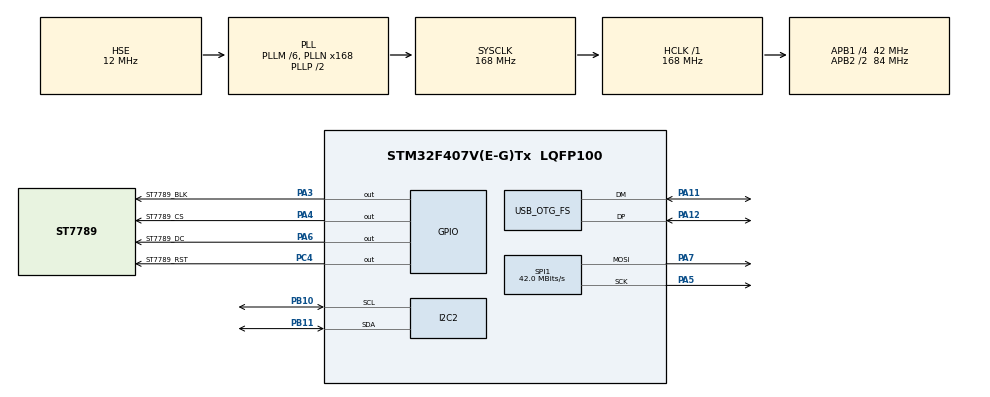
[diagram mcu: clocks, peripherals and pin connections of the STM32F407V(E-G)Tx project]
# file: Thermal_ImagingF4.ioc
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Dma.I2C2_RX.2.Direction=DMA_PERIPH_TO_MEMORY
Dma.I2C2_RX.2.FIFOMode=DMA_FIFOMODE_DISABLE
Dma.I2C2_RX.2.Instance=DMA1_Stream2
Dma.I2C2_RX.2.MemDataAlignment=DMA_MDATAALIGN_BYTE
Dma.I2C2_RX.2.MemInc=DMA_MINC_ENABLE
Dma.I2C2_RX.2.Mode=DMA_NORMAL
Dma.I2C2_RX.2.PeriphDataAlignment=DMA_PDATAALIGN_BYTE
Dma.I2C2_RX.2.PeriphInc=DMA_PINC_DISABLE
Dma.I2C2_RX.2.Priority=DMA_PRIORITY_VERY_HIGH
Dma.I2C2_TX.1.Direction=DMA_MEMORY_TO_PERIPH
Dma.I2C2_TX.1.FIFOMode=DMA_FIFOMODE_DISABLE
Dma.I2C2_TX.1.Instance=DMA1_Stream7
Dma.I2C2_TX.1.MemDataAlignment=DMA_MDATAALIGN_BYTE
Dma.I2C2_TX.1.MemInc=DMA_MINC_ENABLE
Dma.I2C2_TX.1.Mode=DMA_NORMAL
Dma.I2C2_TX.1.PeriphDataAlignment=DMA_PDATAALIGN_BYTE
Dma.I2C2_TX.1.PeriphInc=DMA_PINC_DISABLE
Dma.I2C2_TX.1.Priority=DMA_PRIORITY_HIGH
Dma.Request0=SPI1_TX
Dma.Request1=I2C2_TX
Dma.Request2=I2C2_RX
Dma.SPI1_TX.0.Direction=DMA_MEMORY_TO_PERIPH
Dma.SPI1_TX.0.FIFOMode=DMA_FIFOMODE_ENABLE
Dma.SPI1_TX.0.FIFOThreshold=DMA_FIFO_THRESHOLD_FULL
Dma.SPI1_TX.0.Instance=DMA2_Stream3
Dma.SPI1_TX.0.MemBurst=DMA_MBURST_SINGLE
Dma.SPI1_TX.0.MemDataAlignment=DMA_MDATAALIGN_BYTE
Dma.SPI1_TX.0.MemInc=DMA_MINC_ENABLE
Dma.SPI1_TX.0.Mode=DMA_NORMAL
Dma.SPI1_TX.0.PeriphBurst=DMA_PBURST_SINGLE
Dma.SPI1_TX.0.PeriphDataAlignment=DMA_PDATAALIGN_BYTE
Dma.SPI1_TX.0.PeriphInc=DMA_PINC_DISABLE
Dma.SPI1_TX.0.Priority=DMA_PRIORITY_VERY_HIGH
FREERTOS.Tasks01=defaultTask,0,128,StartDefaultTask,Default,NULL,Dynamic,NULL,NULL;Lvgl_Tsak,0,1024,StartLvglTask,Default,NULL,Dynamic,NULL,NULL;ReadMLX_Task,-3,2048,StartReadMLX_Task,Default,NULL,Dynamic,NULL,NULL
FREERTOS.configENABLE_FPU=0
I2C2.I2C_Mode=I2C_Fast
Mcu.Family=STM32F4
Mcu.Name=STM32F407V(E-G)Tx
Mcu.Package=LQFP100
NVIC.DMA1_Stream2_IRQn=true\:5\:0\:false\:false\:true\:true\:false\:true\:true
NVIC.DMA1_Stream7_IRQn=true\:5\:0\:false\:false\:true\:true\:false\:true\:true
NVIC.DMA2_Stream3_IRQn=true\:5\:0\:false\:false\:true\:true\:false\:true\:true
NVIC.OTG_FS_IRQn=true\:5\:0\:false\:false\:true\:true\:false\:true\:true
NVIC.PriorityGroup=NVIC_PRIORITYGROUP_4
NVIC.TIM1_UP_TIM10_IRQn=true\:15\:0\:false\:false\:true\:false\:false\:true\:true
NVIC.TIM8_BRK_TIM12_IRQn=true\:5\:0\:false\:false\:true\:true\:true\:true\:true
NVIC.TimeBase=TIM1_UP_TIM10_IRQn
NVIC.TimeBaseIP=TIM10
PA11.Mode=Device_Only
PA11.Signal=USB_OTG_FS_DM
PA12.Mode=Device_Only
PA12.Signal=USB_OTG_FS_DP
PA13.Mode=Serial_Wire
PA13.Signal=SYS_JTMS-SWDIO
PA14.Mode=Serial_Wire
PA14.Signal=SYS_JTCK-SWCLK
PA3.GPIO_Label=ST7789_BLK
PA3.GPIO_PuPd=GPIO_PULLDOWN
PA3.PinState=GPIO_PIN_SET
PA3.Signal=GPIO_Output
PA4.GPIO_Label=ST7789_CS
PA4.GPIO_PuPd=GPIO_PULLDOWN
PA4.GPIO_Speed=GPIO_SPEED_FREQ_VERY_HIGH
PA4.Signal=GPIO_Output
PA5.Mode=TX_Only_Simplex_Unidirect_Master
PA5.Signal=SPI1_SCK
PA6.GPIO_Label=ST7789_DC
PA6.GPIO_PuPd=GPIO_PULLUP
PA6.GPIO_Speed=GPIO_SPEED_FREQ_VERY_HIGH
PA6.PinState=GPIO_PIN_RESET
PA6.Signal=GPIO_Output
PA7.Mode=TX_Only_Simplex_Unidirect_Master
PA7.Signal=SPI1_MOSI
PB10.Mode=I2C
PB10.Signal=I2C2_SCL
PB11.Mode=I2C
PB11.Signal=I2C2_SDA
PC4.GPIO_Label=ST7789_RST
PC4.GPIO_PuPd=GPIO_PULLDOWN
PC4.GPIO_Speed=GPIO_SPEED_FREQ_LOW
PC4.Signal=GPIO_Output
PH0-OSC_IN.Mode=HSE-External-Oscillator
PH0-OSC_IN.Signal=RCC_OSC_IN
PH1-OSC_OUT.Mode=HSE-External-Oscillator
PH1-OSC_OUT.Signal=RCC_OSC_OUT
ProjectManager.HeapSize=0x1000
ProjectManager.StackSize=0x2000
ProjectManager.TargetToolchain=MDK-ARM V5.32
RCC.48MHZClocksFreq_Value=48000000
RCC.AHBFreq_Value=168000000
RCC.APB1CLKDivider=RCC_HCLK_DIV4
RCC.APB1Freq_Value=42000000
RCC.APB1TimFreq_Value=84000000
RCC.APB2CLKDivider=RCC_HCLK_DIV2
RCC.APB2Freq_Value=84000000
RCC.APB2TimFreq_Value=168000000
RCC.CortexFreq_Value=168000000
RCC.HCLKFreq_Value=168000000
RCC.HSE_VALUE=12000000
RCC.HSI_VALUE=16000000
RCC.LSE_VALUE=32768
RCC.PLLM=6
RCC.PLLN=168
RCC.PLLQ=7
RCC.SYSCLKFreq_VALUE=168000000
RCC.SYSCLKSource=RCC_SYSCLKSOURCE_PLLCLK
RCC.VCOOutputFreq_Value=336000000
SPI1.CLKPolarity=SPI_POLARITY_HIGH
SPI1.CalculateBaudRate=42.0 MBits/s
SPI1.Direction=SPI_DIRECTION_2LINES
SPI1.Mode=SPI_MODE_MASTER
SPI1.VirtualType=VM_MASTER
TIM12.Period=1000
TIM12.Prescaler=168
USB_DEVICE.CLASS_NAME_FS=CDC
USB_DEVICE.VirtualMode-CDC_FS=Cdc
USB_DEVICE.VirtualModeFS=Cdc_FS
USB_OTG_FS.VirtualMode=Device_Only
VP_FREERTOS_VS_CMSIS_V1.Mode=CMSIS_V1
VP_SYS_VS_tim10.Mode=TIM10
VP_TIM12_VS_ClockSourceINT.Mode=Internal
VP_USB_DEVICE_VS_USB_DEVICE_CDC_FS.Mode=CDC_FS
board=custom

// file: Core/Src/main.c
/* USER CODE BEGIN Header */
/**
  ******************************************************************************
  * @file           : main.c
  * @brief          : Main program body
  ******************************************************************************
  * @attention
  *
  * Copyright (c) 2024 STMicroelectronics.
  * All rights reserved.
  *
  * This software is licensed under terms that can be found in the LICENSE file
  * in the root directory of this software component.
  * If no LICENSE file comes with this software, it is provided AS-IS.
  *
  ******************************************************************************
  */
/* USER CODE END Header */
#include "main.h"
#include "cmsis_os.h"
#include "dma.h"
#include "i2c.h"
#include "spi.h"
#include "tim.h"
#include "usb_device.h"
#include "gpio.h"

/* USER CODE BEGIN Includes */
#include "ST7789.h"
#include "lvgl.h"
#include "lv_port_disp_template.h"
#include "lv_demo_benchmark.h"

#include "MLX90640_API.h"
#include "MLX90640_I2C_Driver.h"

/* USER CODE END Includes */

void SystemClock_Config(void);
void MX_FREERTOS_Init(void);

int main(void)
{

  /* MCU Configuration--------------------------------------------------------*/

  /* Reset of all peripherals, Initializes the Flash interface and the Systick. */
  HAL_Init();

  /* Configure the system clock */
  SystemClock_Config();

  /* Initialize all configured peripherals */
  MX_GPIO_Init();
  MX_DMA_Init();
  MX_SPI1_Init();
  MX_TIM12_Init();
  MX_I2C2_Init();
  /* USER CODE BEGIN 2 */
  HAL_Delay(1000);
  ST7789_Init();
  // ST7789_Test();

  // ST7789_WriteString(50,60,"Welcome",Font_11x18,WHITE,BLACK);

  /* USER CODE END 2 */

  /* Call init function for freertos objects (in cmsis_os2.c) */
  MX_FREERTOS_Init();

  /* Start scheduler */
  osKernelStart();

  /* We should never get here as control is now taken by the scheduler */

  /* Infinite loop */
  while (1)
  {

  }
}

void SystemClock_Config(void)
{
  RCC_OscInitTypeDef RCC_OscInitStruct = {0};
  RCC_ClkInitTypeDef RCC_ClkInitStruct = {0};

  /** Configure the main internal regulator output voltage
  */
  __HAL_RCC_PWR_CLK_ENABLE();
  __HAL_PWR_VOLTAGESCALING_CONFIG(PWR_REGULATOR_VOLTAGE_SCALE1);

  /** Initializes the RCC Oscillators according to the specified parameters
  * in the RCC_OscInitTypeDef structure.
  */
  RCC_OscInitStruct.OscillatorType = RCC_OSCILLATORTYPE_HSE;
  RCC_OscInitStruct.HSEState = RCC_HSE_ON;
  RCC_OscInitStruct.PLL.PLLState = RCC_PLL_ON;
  RCC_OscInitStruct.PLL.PLLSource = RCC_PLLSOURCE_HSE;
  RCC_OscInitStruct.PLL.PLLM = 6;
  RCC_OscInitStruct.PLL.PLLN = 168;
  RCC_OscInitStruct.PLL.PLLP = RCC_PLLP_DIV2;
  RCC_OscInitStruct.PLL.PLLQ = 7;
  if (HAL_RCC_OscConfig(&RCC_OscInitStruct) != HAL_OK)
  {
    Error_Handler();
  }

  /** Initializes the CPU, AHB and APB buses clocks
  */
  RCC_ClkInitStruct.ClockType = RCC_CLOCKTYPE_HCLK|RCC_CLOCKTYPE_SYSCLK
                              |RCC_CLOCKTYPE_PCLK1|RCC_CLOCKTYPE_PCLK2;
  RCC_ClkInitStruct.SYSCLKSource = RCC_SYSCLKSOURCE_PLLCLK;
  RCC_ClkInitStruct.AHBCLKDivider = RCC_SYSCLK_DIV1;
  RCC_ClkInitStruct.APB1CLKDivider = RCC_HCLK_DIV4;
  RCC_ClkInitStruct.APB2CLKDivider = RCC_HCLK_DIV2;

  if (HAL_RCC_ClockConfig(&RCC_ClkInitStruct, FLASH_LATENCY_5) != HAL_OK)
  {
    Error_Handler();
  }
}

void HAL_TIM_PeriodElapsedCallback(TIM_HandleTypeDef *htim)
{
  if (htim->Instance == TIM10) {
    HAL_IncTick();
  }
  /* USER CODE BEGIN Callback 1 */
  if (htim->Instance == TIM12) {
    // lv_tick_inc(1);
  }
  /* USER CODE END Callback 1 */
}

void Error_Handler(void)
{
  __disable_irq();
  while (1)
  {
  }
}

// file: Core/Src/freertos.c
/* USER CODE BEGIN Header */
/**
  ******************************************************************************
  * File Name          : freertos.c
  * Description        : Code for freertos applications
  ******************************************************************************
  * @attention
  *
  * Copyright (c) 2024 STMicroelectronics.
  * All rights reserved.
  *
  * This software is licensed under terms that can be found in the LICENSE file
  * in the root directory of this software component.
  * If no LICENSE file comes with this software, it is provided AS-IS.
  *
  ******************************************************************************
  */
/* USER CODE END Header */

#include "FreeRTOS.h"
#include "task.h"
#include "main.h"
#include "cmsis_os.h"

/* USER CODE BEGIN Includes */
#include "ST7789.h"
#include "lvgl.h"
#include "lv_port_disp_template.h"
#include "MLX90640_API.h"
#include "MLX90640_I2C_Driver.h"
#include <stdio.h>
#include "tim.h"
#include "gui_guider.h"
#include "custom.h"
#include "usbd_cdc_if.h"

#include "arm_math.h"
#include "interpolation_functions.h"
/* USER CODE END Includes */

/* USER CODE BEGIN PD */
#define abs(x)      ((x)>0?(x):-(x))
void GrayToPseColor(uint8_t grayValue, uint8_t* colorR, uint8_t* colorG, uint8_t* colorB)
{
  if (colorR == NULL || colorG == NULL || colorB == NULL)
  {
    ST7789_WriteString(0, 0, "Error:", Font_16x26, RED,BLACK );
    return;
  }

  // float grayValue;
  // grayValue = grayValue1;
  if ((grayValue >= 0) && (grayValue <= 63))
  {
    *colorR = 0;
    *colorG = 0;
    *colorB = (uint8_t)((float)grayValue / 64.0f * 31.0f);
  }
  else if ((grayValue >= 64) && (grayValue <= 127))
  {
    *colorR = 0;
    *colorG = (uint8_t)((float)(grayValue - 64) / 64.0f * 63.0f);
    *colorB = (uint8_t)((float)(127 - grayValue) / 64.0f * 31.0f);
  }
  else if ((grayValue >= 128) && (grayValue <= 191))
  {
    *colorR = (uint8_t)((float)(grayValue - 128) / 64.0f * 31.0f);
    *colorG = 255;
    *colorB = 0;
  }
  else if ((grayValue >= 192) && (grayValue <= 255))
  {
    *colorR = 127;
    *colorG = (uint8_t)((float)(255 - grayValue) / 64.0f * 63.0f);
    *colorB = 0;
  }
}

static int32_t float_to_1220(float value);
/* USER CODE END PD */

osThreadId defaultTaskHandle;
osThreadId Lvgl_TsakHandle;
osThreadId ReadMLX_TaskHandle;

void StartDefaultTask(void const * argument);
void StartLvglTask(void const * argument);
void StartReadMLX_Task(void const * argument);

extern void MX_USB_DEVICE_Init(void);
void MX_FREERTOS_Init(void); /* (MISRA C 2004 rule 8.1) */

/* GetIdleTaskMemory prototype (linked to static allocation support) */
void vApplicationGetIdleTaskMemory( StaticTask_t **ppxIdleTaskTCBBuffer, StackType_t **ppxIdleTaskStackBuffer, uint32_t *pulIdleTaskStackSize );

/* USER CODE BEGIN GET_IDLE_TASK_MEMORY */
static StaticTask_t xIdleTaskTCBBuffer;
static StackType_t xIdleStack[configMINIMAL_STACK_SIZE];

void vApplicationGetIdleTaskMemory( StaticTask_t **ppxIdleTaskTCBBuffer, StackType_t **ppxIdleTaskStackBuffer, uint32_t *pulIdleTaskStackSize )
{
  *ppxIdleTaskTCBBuffer = &xIdleTaskTCBBuffer;
  *ppxIdleTaskStackBuffer = &xIdleStack[0];
  *pulIdleTaskStackSize = configMINIMAL_STACK_SIZE;
  /* place for user code */
}
/* USER CODE END GET_IDLE_TASK_MEMORY */

void MX_FREERTOS_Init(void) {

  /* Create the thread(s) */
  /* definition and creation of defaultTask */
  osThreadDef(defaultTask, StartDefaultTask, osPriorityNormal, 0, 128);
  defaultTaskHandle = osThreadCreate(osThread(defaultTask), NULL);

  /* definition and creation of Lvgl_Tsak */
  osThreadDef(Lvgl_Tsak, StartLvglTask, osPriorityNormal, 0, 1024);
  Lvgl_TsakHandle = osThreadCreate(osThread(Lvgl_Tsak), NULL);

  /* definition and creation of ReadMLX_Task */
  osThreadDef(ReadMLX_Task, StartReadMLX_Task, osPriorityIdle, 0, 2048);
  ReadMLX_TaskHandle = osThreadCreate(osThread(ReadMLX_Task), NULL);

}

void StartDefaultTask(void const * argument)
{
  /* init code for USB_DEVICE */
  MX_USB_DEVICE_Init();
  for(;;)
  {
    osDelay(1);
  }
}

/* USER CODE BEGIN Header_StartLvglTask */
lv_ui guider_ui;
/**
* @brief Function implementing the Lvgl_Tsak thread.
* @param argument: Not used
* @retval None
*/
/* USER CODE END Header_StartLvglTask */
void StartLvglTask(void const * argument)
{
  /* USER CODE BEGIN StartLvglTask */
  // lv_init();
	// lv_port_disp_init();

  // setup_ui(&guider_ui);
  // HAL_TIM_Base_Start_IT(&htim12);
  /* Infinite loop */
  for(;;)
  {
    // lv_task_handler();
    osDelay(1);
  }
  /* USER CODE END StartLvglTask */
}

/* USER CODE BEGIN Header_StartReadMLX_Task */
unsigned short EE[832];
unsigned short Frame[834];
paramsMLX90640 MLXPars;
float Vdd,Ta,Tr;
float Temp[768];//原始温度

//共用体，用于色彩转换
union color {
  uint16_t raw;
  struct
  {
    uint16_t b:5;
    uint16_t g:6;
    uint16_t r:5;
  };
};

float MaxTemp = 0;
float MinTemp = 0;
uint8_t return1,return2;

uint8_t flag0=0,flag1=0,flagtime=0;
//浮点插值用
// float32_t temp_raw_buffer[32*24]={0};//存放原始数据,
// float32_t temp_interp_buffer[320*30]={0};//存放插值后数据
// arm_bilinear_interp_instance_f32 bilinearInterp;
// uint8_t TemptNorma[320*30];
// static union color color_temp;
// static uint16_t Picter[320*30];
// uint8_t R,G,B;

int16_t temp_raw_buffer[32*24]={0};
int16_t temp_interp_buffer[320*30]={0};//存放插值后数据
arm_bilinear_interp_instance_q15 bilinearInterp;
union color color_temp;//用于色彩转换的共用体
uint8_t R,G,B;//暂存RGB数据

/**
* @brief Function implementing the ReadMLX_Task thread.
* @param argument: Not used
* @retval None
*/
/* USER CODE END Header_StartReadMLX_Task */
void StartReadMLX_Task(void const * argument)
{
  /* USER CODE BEGIN StartReadMLX_Task */
  osDelay(1000); //预留一点时间让 MLX 传感器完成自己的初始化
  MLX90640_SetRefreshRate(0x33,3); //测量速率 1Hz(0~7 对应 0.5,1,2,4,8,16,32,64Hz)
  MLX90640_DumpEE(0x33, EE);//读取像素校正参数
  MLX90640_ExtractParameters(EE, &MLXPars); //解析校正参数（计算温度时需要）
  osDelay(100);
  /* Infinite loop */
  for(;;)
  {
    uint32_t test=0;
    test=float_to_1220(2.5f);

    char str[50];
    return1=0;
    return1 = MLX90640_GetFrameData(0x33, Frame);
    if (return1==0 || return1 ==1) //有转换完成的帧
    {
      Vdd=MLX90640_GetVdd(Frame, &MLXPars); //计算 Vdd（这句可有可无）
      Ta=MLX90640_GetTa( Frame, &MLXPars); //计算实时外壳温度
      Tr=Ta-8.0; //计算环境温度用于温度补偿
      //手册上说的环境温度可以用外壳温度-8℃
      MLX90640_CalculateTo(Frame, &MLXPars, 0.95, Tr, Temp); //计算像素点温度
      // MLX90640_GetImage(Frame, &MLXPars, Temp);
      /*
      Temp 数组内即是转换完成的实时温度值，单位℃
      可以在这里对得到的 32*24=768 个温度值进行处理、转换为颜色值、显示
      关于温度转颜色方法，在后续的文章中会有专门介绍
      */
      //计算最大最小温度
      MaxTemp=0;MinTemp=1000;
      for (uint16_t i = 0; i < 768; i++)
      {
        if (MaxTemp < Temp[i])
        {
          MaxTemp = Temp[i];
        }
        if (MinTemp > Temp[i])
        {
          MinTemp = Temp[i];
        }
      }
      sprintf(str, "MAX:%1.f,MIN:%1.f",MaxTemp,MinTemp);
      ST7789_WriteString(0,220,str,Font_11x18,WHITE,BLACK);

      //上下翻转图像
      // for (uint8_t h = 0; h < 24; h++)
      // {
      //   for (uint8_t w = 0; w < 32; w++)
      //   {
      //     temp_raw_buffer[(23-h)*32+w] = Temp[h*32+w];
      //   }
      // }
      for (uint8_t h = 0; h < 24; h++)
      {
        for (uint8_t w = 0; w < 32; w++)
        {
          temp_raw_buffer[(23-h)*32+w] = (Temp[h*32+w]* 100);
        }
      }
      /**********************int16_t插值************************************************************************** */
      bilinearInterp.numCols = 32;
      bilinearInterp.numRows = 24;
      bilinearInterp.pData = temp_raw_buffer;

      for (uint16_t num = 0; num < 8; num++)
      {
        //插值计算
        for (uint16_t h = 0; h < 30; h++)
        {
          for (uint16_t w = 0; w < 320; w++)
          {
            temp_interp_buffer[h*320 + w] = arm_bilinear_interp_q15(&bilinearInterp, float_to_1220((float32_t)w / 10.29032258064516f), float_to_1220((float32_t)(h+num*30) / 10.39130434782609f));
          }
        }
        //归一化
        for (uint16_t h = 0; h < 30; h++)
        {
          for (uint16_t w = 0; w < 320; w++)
          {
            temp_interp_buffer[h*320 + w] = (int16_t)(((float)temp_interp_buffer[h*320 + w]/100.0f - MinTemp) / (MaxTemp - MinTemp) * 255);
          }
        }

        for (uint16_t h = 0; h < 30; h++)
        {
          for (uint16_t w = 0; w < 320; w++)
          {
            GrayToPseColor((uint8_t)temp_interp_buffer[h*320 + w], &R,&G,&B);
            color_temp.r = R;
            color_temp.g = G;
            color_temp.b = B;
            temp_interp_buffer[h*320 + w] = color_temp.raw;
          }
        }
        //大小端转换
        for (uint16_t i = 0; i < (320*30); i++)
        {
          temp_interp_buffer[i] = (temp_interp_buffer[i]<<8 | temp_interp_buffer[i]>>8);
        }
        ST7789_DrawImage(0, num*30, 320, 30, (uint16_t *)temp_interp_buffer);
      }
      /*********************************************************************************************************** */
      /**********************float插值************************************************************************** *
      bilinearInterp.numCols = 32;
      bilinearInterp.numRows = 24;
      bilinearInterp.pData = temp_raw_buffer;

      // memcpy(temp_raw_buffer, Temp,768*4);

      for (uint8_t num = 0; num < 8; num++)
      {
        //插值计算
        for (uint16_t h = 0; h < 30; h++)
        {
          for (uint16_t w = 0; w < 320; w++)
          {
            temp_interp_buffer[h*320+w] = arm_bilinear_interp_f32(&bilinearInterp, (float32_t)w / 10.29032258064516f, (float32_t)(h+num*30) / 10.39130434782609f);
          }
        }
        //归一化
        for (uint16_t i = 0; i < (320*30); i++)
        {
          TemptNorma[i] = (uint8_t)((temp_interp_buffer[i] - MinTemp) / (MaxTemp - MinTemp) * 255);
          // TemptNorma[i] = (uint8_t)((temp_interp_buffer[i] - 0) / (50 - 0) * 255);
        }
        //色彩转换
        for (uint32_t i = 0; i < (320*30); i++)
        {
          GrayToPseColor(TemptNorma[i], &R,&G,&B);
          color_temp.r = R;
          color_temp.g = G;
          color_temp.b = B;
          Picter[i] = color_temp.raw;
        }
        //大小端转换
        for (uint16_t i = 0; i < (320*30); i++)
        {
          Picter[i] = (Picter[i]<<8 | Picter[i]>>8);
        }
        ST7789_DrawImage(0, num*30, 320, 30, Picter);
      }
      /********************************************************************************************************** */
      /********************************************************************************************************** *
      // float32_t temp_raw_buffer[32*6]={0};//存放原始数据,原数据上1/4
      // float32_t temp_interp_buffer[320*60]={0};//存放插值后数据
      // arm_bilinear_interp_instance_f32 bilinearInterp;
      bilinearInterp.numCols = 32;
      bilinearInterp.numRows = 3;
      bilinearInterp.pData = temp_raw_buffer;

      for (uint8_t num = 0; num < 8; num++)
      {
        // memcpy(temp_raw_buffer, &Temp[32*3*num], 32*3*sizeof(float32_t));

        // for (uint16_t h = 0; h < 30; h++)
        // {
        //   for (uint16_t w = 0; w < 320; w++)
        //   {
        //     // temp_interp_buffer[h*320+w] = arm_bilinear_interp_f32(&bilinearInterp, (float32_t)w / 10.29032258064516f, (float32_t)h / 14.5f);
        //   }
        // }
        //归一化
        // for (uint16_t i = 0; i < (320*30); i++)
        // {
        //   // TemptNorma[i] = (uint8_t)((Temp[i] - MinTemp) / (MaxTemp - MinTemp) * 255);
        //   TemptNorma[i] = (uint8_t)((temp_interp_buffer[i] - 0) / (50 - 0) * 255);
        // }
        //色彩转换
        // for (uint32_t i = 0; i < (320*30); i++)
        // {
        //   GrayToPseColor(TemptNorma[i], &R,&G,&B);
        //   color_temp.r = R;
        //   color_temp.g = G;
        //   color_temp.b = B;
        //   Picter[i] = color_temp.raw;
        // }

        // for (uint16_t i = 0; i < (320*30); i++)
        // {
        //   Picter[i] = (Picter[i]<<8 | Picter[i]>>8);
        // }
        // ST7789_DrawImage(0, num*30, 320, 30, Picter);
      }
      ********************************************************************************************************* */

      /*********************************↓色块显示，没有插值↓（基本显示功能，勿删）*************************************
      float TemptNorma[768];
      static union color color_temp[768];
      uint8_t R,G,B;
      //归一化
      for (uint16_t i = 0; i < 768; i++)
      {
        TemptNorma[i] = (uint8_t)((Temp[i] - MinTemp) / (MaxTemp - MinTemp) * 255);
        // TemptNorma[i] = (uint8_t)((Temp[i] - 0) / (50 - 0) * 255);
      }
      for (uint16_t i = 0; i < 768; i++)
      {
        GrayToPseColor(TemptNorma[i], &R,&G,&B);
        color_temp[i].r = R;
        color_temp[i].g = G;
        color_temp[i].b = B;
      }
      // char str[40];
      // sprintf(str, "MAX:%1.f,MIN:%1.f,color:%x",MaxTemp,MinTemp,color_temp[383].raw);
      // ST7789_WriteString(0,20,str,Font_11x18,WHITE,BLACK);
      // 显示
      uint16_t i=0;
      for (int16_t h = 0; h < 24; h++)
      {
        for (int16_t w = 0; w < 32; w++)
        {
          ST7789_DrawFilledRectangle(w*10, h*10,10,10,color_temp[i++].raw);
        }
      }
      **********************************↑色块显示，没有插值↑*************************************/

      /***************插值测试(勿删)(已经成功)*************************************************************

      float32_t temp_data[16]={0};
      float32_t temp_data_interp[64]={0};
      arm_bilinear_interp_instance_f32 bilinearInterp;
      bilinearInterp.numCols = 4;
      bilinearInterp.numRows = 4;
      bilinearInterp.pData = temp_data;

      for (uint16_t h = 0; h < 4; h++)
      {
        for (uint16_t w = 0; w < 4; w++)
        {
          temp_data[h*4+w] = h*4+w;
        }
      }

      for (uint16_t h = 0; h < 8; h++)
      {
        for (uint16_t w = 0; w < 8; w++)
        {
          temp_data_interp[h*8+w] = arm_bilinear_interp_f32(&bilinearInterp, (float32_t)w / 2.333f, (float32_t)h / 2.333f);//2.333f是7÷3.
        }
      }

      char str[600];
      sprintf(str,"%.2f \t%.2f \t%.2f \t%.2f \t\n"
                  "%.2f \t%.2f \t%.2f \t%.2f \t\n"
                  "%.2f \t%.2f \t%.2f \t%.2f \t\n"
                  "%.2f \t%.2f \t%.2f \t%.2f \t\n\n",
                  temp_data[0], temp_data[1], temp_data[2], temp_data[3],
                  temp_data[4], temp_data[5], temp_data[6], temp_data[7],
                  temp_data[8], temp_data[9], temp_data[10], temp_data[11],
                  temp_data[12], temp_data[13], temp_data[14], temp_data[15]);
      CDC_Transmit_FS((uint8_t *)str,strlen(str));

      sprintf(str,"%.2f \t%.2f \t%.2f \t%.2f \t%.2f \t%.2f \t%.2f \t%.2f \t\n"
                  "%.2f \t%.2f \t%.2f \t%.2f \t%.2f \t%.2f \t%.2f \t%.2f \t\n"
                  "%.2f \t%.2f \t%.2f \t%.2f \t%.2f \t%.2f \t%.2f \t%.2f \t\n"
                  "%.2f \t%.2f \t%.2f \t%.2f \t%.2f \t%.2f \t%.2f \t%.2f \t\n"
                  "%.2f \t%.2f \t%.2f \t%.2f \t%.2f \t%.2f \t%.2f \t%.2f \t\n"
                  "%.2f \t%.2f \t%.2f \t%.2f \t%.2f \t%.2f \t%.2f \t%.2f \t\n"
                  "%.2f \t%.2f \t%.2f \t%.2f \t%.2f \t%.2f \t%.2f \t%.2f \t\n"
                  "%.2f \t%.2f \t%.2f \t%.2f \t%.2f \t%.2f \t%.2f \t%.2f \t\n\n",
                  temp_data_interp[0],temp_data_interp[1],temp_data_interp[2],temp_data_interp[3],temp_data_interp[4],temp_data_interp[5],temp_data_interp[6],temp_data_interp[7],
                  temp_data_interp[8],temp_data_interp[9],temp_data_interp[10],temp_data_interp[11],temp_data_interp[12],temp_data_interp[13],temp_data_interp[14],temp_data_interp[15],
                  temp_data_interp[16],temp_data_interp[17],temp_data_interp[18],temp_data_interp[19],temp_data_interp[20],temp_data_interp[21],temp_data_interp[22],temp_data_interp[23],
                  temp_data_interp[24],temp_data_interp[25],temp_data_interp[26],temp_data_interp[27],temp_data_interp[28],temp_data_interp[29],temp_data_interp[30],temp_data_interp[31],
                  temp_data_interp[32],temp_data_interp[33],temp_data_interp[34],temp_data_interp[35],temp_data_interp[36],temp_data_interp[37],temp_data_interp[38],temp_data_interp[39],
                  temp_data_interp[40],temp_data_interp[41],temp_data_interp[42],temp_data_interp[43],temp_data_interp[44],temp_data_interp[45],temp_data_interp[46],temp_data_interp[47],
                  temp_data_interp[48],temp_data_interp[49],temp_data_interp[50],temp_data_interp[51],temp_data_interp[52],temp_data_interp[53],temp_data_interp[54],temp_data_interp[55],
                  temp_data_interp[56],temp_data_interp[57],temp_data_interp[58],temp_data_interp[59],temp_data_interp[60],temp_data_interp[61],temp_data_interp[62],temp_data_interp[63]);
      CDC_Transmit_FS((uint8_t *)str,strlen(str));
      ****************************************************************************************/

      /************归一化色彩梯度测试(勿删)*
      uint8_t temp[32]={0};
      uint8_t R,G,B;
      union color color_temp1[32];

      for (uint8_t i = 0; i < 32; i++)
      {
        temp[i] = (uint8_t)((float)i/31.0f*255.f);
      }
      for (uint8_t i = 0; i < 32; i++)
      {
        GrayToPseColor(temp[i], &R,&G,&B);
        color_temp1[i].r = R;
        color_temp1[i].g = G;
        color_temp1[i].b = B;
      }
      for (uint8_t i = 0; i < 32; i++)
      {
        ST7789_DrawFilledRectangle(i*10, 0,10,10,color_temp1[i].raw);
      }
      *****************************/

    }
  }
  /* USER CODE END StartReadMLX_Task */
}

/* USER CODE BEGIN Application */
/**
 * @brief  float格式的数据转换为12.20格式的数据
 *
 * @param value
 * @return int32_t
 */
int32_t float_to_1220(float value)
{
  int32_t intValue = (int32_t)value;
  int32_t fracValue = 0;
  float fracPart = value - (float)intValue;
  if ( fracPart > 0)fracValue = (int32_t)(fracPart * 1024);
  return (int32_t)(intValue << 20) + fracValue;
}
/* USER CODE END Application */
